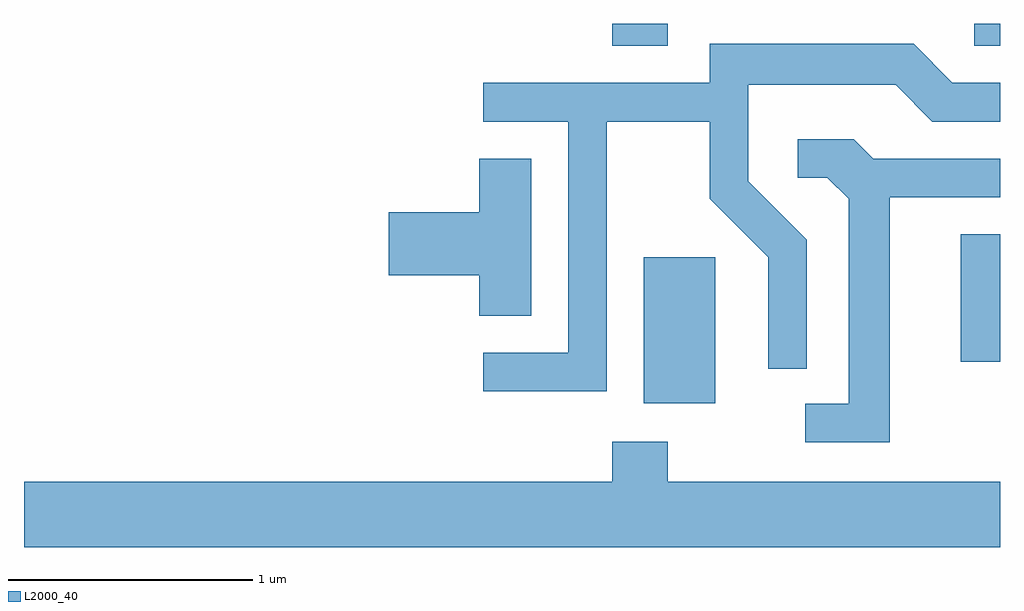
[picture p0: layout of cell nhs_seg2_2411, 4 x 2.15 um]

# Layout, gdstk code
import gdstk
lib = gdstk.Library(unit=1e-6, precision=1e-09)
def R(c, l, rs):  # rectangles x0, y0, x1, y1
    for r in rs: c.add(gdstk.rectangle(r[:2], r[2:], *l))
def P(c, l, *ps):  # polygons
    for p in ps: c.add(gdstk.Polygon(p, *l))
L2000_40 = (2000, 40)

nhs_seg2_2411 = lib.new_cell('nhs_seg2_2411')
R(nhs_seg2_2411, L2000_40, [(258.151,1042.246,258.444,1042.844), (259.451,1042.416,259.611,1042.939), (258.021,1043.711,258.249,1043.802), (259.506,1043.711,259.611,1043.802)])
P(nhs_seg2_2411, L2000_40, [(257.999,1043.401),(258.421,1043.401),(258.421,1043.084),(258.661,1042.844),(258.661,1042.388),(258.819,1042.388),(258.819,1042.917),(258.579,1043.157),(258.579,1043.551),(259.183,1043.551),(259.334,1043.401),(259.611,1043.401),(259.611,1043.559),(259.416,1043.559),(259.257,1043.719),(258.421,1043.719),(258.421,1043.559),(257.493,1043.559),(257.493,1043.401),(257.841,1043.401),(257.841,1042.454),(257.493,1042.454),(257.493,1042.296),(257.999,1042.296)],
  [(259.159,1043.091),(259.611,1043.091),(259.611,1043.249),(259.092,1043.249),(259.012,1043.329),(258.783,1043.329),(258.783,1043.171),(258.904,1043.171),(258.991,1043.084),(258.991,1042.244),(258.813,1042.244),(258.813,1042.086),(259.159,1042.086)],
  [(257.689,1043.249),(257.476,1043.249),(257.476,1043.029),(257.106,1043.029),(257.106,1042.771),(257.476,1042.771),(257.476,1042.606),(257.689,1042.606)],
  [(259.611,1041.924),(258.249,1041.924),(258.249,1042.089),(258.021,1042.089),(258.021,1041.924),(255.611,1041.924),(255.611,1041.656),(259.611,1041.656)])

lib.write_gds('nhs_seg2_2411.gds')
